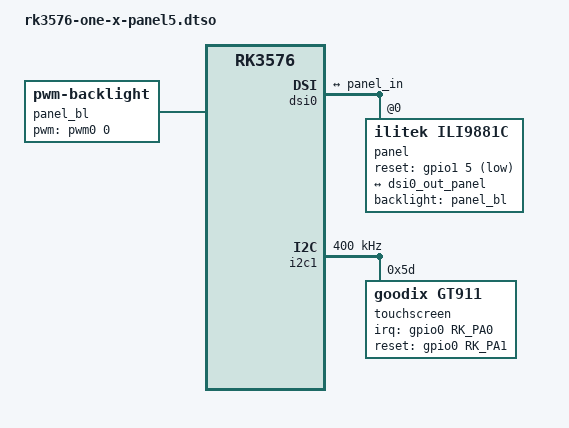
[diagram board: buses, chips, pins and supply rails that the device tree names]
// SPDX-License-Identifier: (GPL-2.0-or-later OR MIT)
/*
 * G4MEOVER ONE-X — Device-Tree-Overlay-SKELETT
 * 5,0" 720x1280 4-lane MIPI-DSI Panel (ILI9881C-Klasse) + I2C-Touch (GT911-Klasse)
 * Ziel: RK3576, Gate G01 (Display-Bringup) — siehe ../BRINGUP_CHECKLIST_G01.md
 *
 * ┌──────────────────────────────────────────────────────────────────────────┐
 * │  DIES IST EIN SKELETT — NICHT PRODUKTIONSFERTIG.                          │
 * │  Vor jedem realen Flash zu setzen/verifizieren:                          │
 * │   VERIFY  Node-Labels gegen das TATSAECHLICHE RK3576-BSP/DTSI            │
 * │           (&dsi0, &dsi0_in, &vop, &vp*, &mipidcphy0, &i2c* koennen        │
 * │           gegenueber RK3588 abweichen).                                   │
 * │   HOLD    GPIO-/Pin-Nummern (haengen vom Devboard bzw. spaeter vom        │
 * │           ONE-X-Mainboard-Schaltplan ab, Gate G07).                       │
 * │   HOLD    DSI-Timings + Panel-Init-Sequenz aus dem Panel-DATENBLATT       │
 * │           (siehe ../panel/PANEL_CANDIDATE.md). NICHT RATEN.               │
 * │  FIXED aus Master-Spec: 720x1280, 4 Lanes, Touch ueber I2C.              │
 * └──────────────────────────────────────────────────────────────────────────┘
 */

/dts-v1/;
/plugin/;

#include <dt-bindings/gpio/gpio.h>
#include <dt-bindings/interrupt-controller/irq.h>
#include <dt-bindings/pinctrl/rockchip.h>

/ {
	compatible = "rockchip,rk3576";   /* VERIFY: exakter Board-Compatible-String */
};

/*
 * --- Regulatoren / Backlight (Platzhalter) -------------------------------
 * HOLD: Rails, PWM-Quelle und Regler haengen vom Devboard/Panel ab.
 */
&{/} {
	panel_bl: onex-panel-backlight {
		compatible = "pwm-backlight";
		pwms = <&pwm0 0 25000 0>;          /* VERIFY: PWM-Instanz  · HOLD: Periode aus Datenblatt */
		brightness-levels = <0 32 64 128 192 255>;
		default-brightness-level = <4>;
		status = "okay";
	};
};

/*
 * --- MIPI-DSI-Host + Panel ------------------------------------------------
 * VERIFY: Label &dsi0 / &dsi0_in / &mipidcphy0 gegen RK3576-DTSI.
 */
&dsi0 {                                       /* VERIFY label */
	status = "okay";
	#address-cells = <1>;
	#size-cells = <0>;

	panel@0 {
		compatible = "ilitek,ili9881c";   /* VERIFY: passt Treiber? sonst panel-simple-dsi + Init-Array (PANEL_CANDIDATE.md) */
		reg = <0>;

		backlight = <&panel_bl>;
		reset-gpios = <&gpio1 5 GPIO_ACTIVE_LOW>;   /* HOLD: Pin + Polaritaet */
		/* HOLD: Versorgungen — Namen/Rails aus Datenblatt
		 * vcc-supply   = <&vcc3v3_panel>;
		 * iovcc-supply = <&vcc1v8_panel>;
		 */

		dsi,flags = <(0)>;                /* HOLD: MIPI_DSI_MODE_VIDEO|_BURST|... aus Datenblatt */
		dsi,format = <0>;                 /* MIPI_DSI_FMT_RGB888 = 0 (VERIFY) */
		dsi,lanes  = <4>;                 /* FIXED (Master-Spec) */

		/* HOLD: exakte Timings aus Panel-Datenblatt setzen — Werte unten sind PLATZHALTER */
		panel-timing {
			clock-frequency = <0>;    /* HOLD 📄 Pixelclock */
			hactive      = <720>;     /* FIXED */
			vactive      = <1280>;    /* FIXED */
			hfront-porch = <0>;       /* HOLD 📄 */
			hback-porch  = <0>;       /* HOLD 📄 */
			hsync-len    = <0>;       /* HOLD 📄 */
			vfront-porch = <0>;       /* HOLD 📄 */
			vback-porch  = <0>;       /* HOLD 📄 */
			vsync-len    = <0>;       /* HOLD 📄 */
		};

		port {
			panel_in: endpoint {
				remote-endpoint = <&dsi0_out_panel>;
			};
		};
	};

	ports {
		#address-cells = <1>;
		#size-cells = <0>;

		port@1 {
			reg = <1>;
			dsi0_out_panel: endpoint {
				remote-endpoint = <&panel_in>;
			};
		};
	};
};

/*
 * VERIFY: Verknuepfung DSI-Eingang <-> VOP-Videoport.
 * Auf RK3576/RK3588-Klasse haengt der DSI-Input an einem VOP-Video-Port (&vp0/&vp1).
 * Label unten pruefen; ggf. muss stattdessen der VOP-Port-Endpoint gesetzt werden.
 */
&dsi0_in {                                    /* VERIFY label (DSI-Input-Port) */
	dsi0_in_vp: endpoint {
		remote-endpoint = <&vp1_out_dsi0>;    /* VERIFY: &vp0 vs &vp1 */
	};
};

&vp1 {                                        /* VERIFY: welcher Video-Port das DSI treibt */
	vp1_out_dsi0: endpoint {
		remote-endpoint = <&dsi0_in_vp>;
	};
};

/*
 * --- Touch (I2C) ----------------------------------------------------------
 * FIXED: Touch laeuft ueber I2C in den RK3576/Linux-Input-Pfad.
 *        RP2350 ueberwacht spaeter nur die Wake-IRQ (kein Datenpfad).
 * VERIFY: &i2c1-Label + Bus-Nummer.  HOLD: IRQ/Reset-Pins + Adresse aus Modul.
 */
&i2c1 {                                       /* VERIFY label / Busnummer */
	status = "okay";
	clock-frequency = <400000>;

	touchscreen@5d {
		compatible = "goodix,gt911";      /* VERIFY vs. konkretem Touch-IC */
		reg = <0x5d>;                     /* HOLD: 0x5d oder 0x14 (modulabhaengig) */

		interrupt-parent = <&gpio0>;      /* HOLD: GPIO-Bank */
		interrupts = <RK_PA0 IRQ_TYPE_EDGE_FALLING>;  /* HOLD: Pin */
		irq-gpios   = <&gpio0 RK_PA0 GPIO_ACTIVE_HIGH>; /* HOLD */
		reset-gpios = <&gpio0 RK_PA1 GPIO_ACTIVE_HIGH>; /* HOLD */

		/* Landscape-Mapping erst nach DRM-Rotation kalibrieren (Checkliste 5–6):
		 * touchscreen-swapped-x-y;
		 * touchscreen-inverted-x;  / touchscreen-inverted-y;
		 */
	};
};
